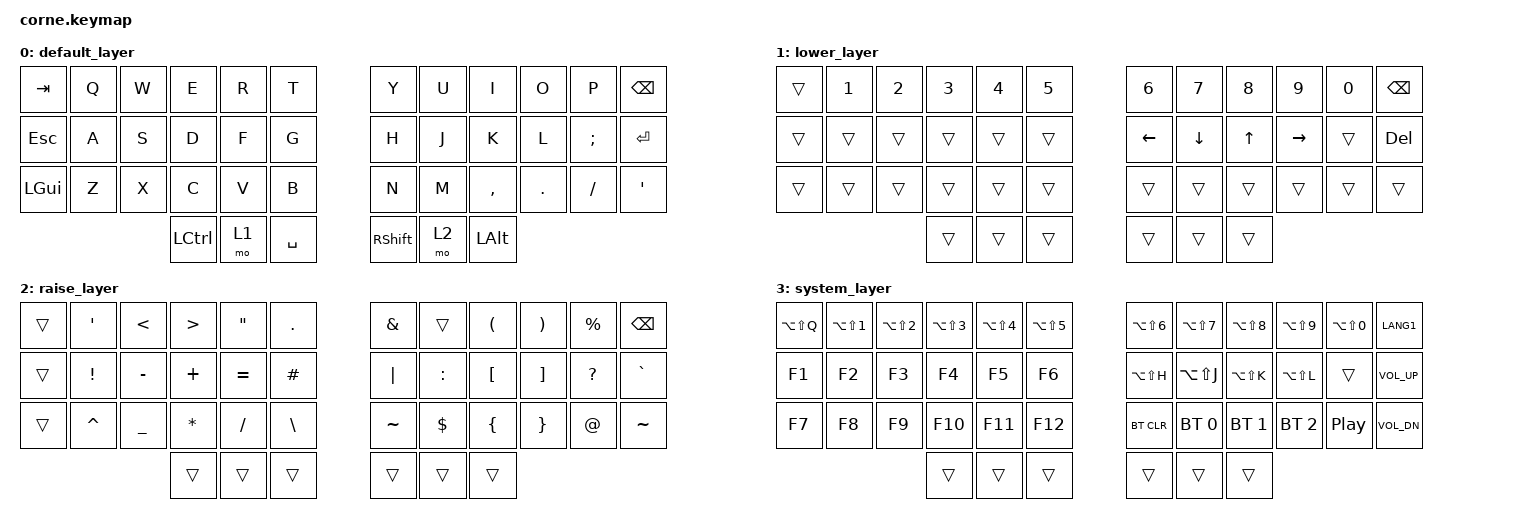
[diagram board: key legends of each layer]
/*
 * Copyright (c) 2020 The ZMK Contributors
 *
 * SPDX-License-Identifier: MIT
 */

#include <behaviors.dtsi>
#include <dt-bindings/zmk/bt.h>
#include <dt-bindings/zmk/keys.h>

/ {
    combos {
        compatible = "zmk,combos";

        to_system {
            bindings = <&mo 3>;
            key-positions = <37 40>;
        };
    };

    keymap {
        compatible = "zmk,keymap";

        default_layer {
            // -----------------------------------------------------------------------------------------
            // |  TAB |  Q  |  W  |  E  |  R  |  T  |   |  Y  |  U   |  I  |  O  |  P  | BKSP |
            // | CTRL |  A  |  S  |  D  |  F  |  G  |   |  H  |  J   |  K  |  L  |  ;  |  '   |
            // | SHFT |  Z  |  X  |  C  |  V  |  B  |   |  N  |  M   |  ,  |  .  |  /  | ESC  |
            //                    | GUI | LWR | SPC |   | ENT | RSE  | ALT |

            bindings = <
&kp TAB     &kp Q  &kp W  &kp E      &kp R  &kp T        &kp Y            &kp U  &kp I         &kp O    &kp P     &kp BSPC
&kp ESCAPE  &kp A  &kp S  &kp D      &kp F  &kp G        &kp H            &kp J  &kp K         &kp L    &kp SEMI  &kp ENTER
&kp LGUI    &kp Z  &kp X  &kp C      &kp V  &kp B        &kp N            &kp M  &kp COMMA     &kp DOT  &kp FSLH  &kp SQT
                          &kp LCTRL  &mo 1  &kp SPACE    &kp RIGHT_SHIFT  &mo 2  &kp LEFT_ALT
            >;
        };

        lower_layer {
            // -----------------------------------------------------------------------------------------
            // |  TAB |  1  |  2  |  3  |  4  |  5  |   |  6  |  7  |  8  |  9  |  0  | BKSP |
            // | BTCLR| BT1 | BT2 | BT3 | BT4 | BT5 |   | LFT | DWN |  UP | RGT |     |      |
            // | SHFT |     |     |     |     |     |   |     |     |     |     |     |      |
            //                    | GUI |     | SPC |   | ENT |     | ALT |

            bindings = <
&trans  &kp N1  &kp N2  &kp N3  &kp N4  &kp N5    &kp N6    &kp N7    &kp N8  &kp N9     &kp N0  &kp BSPC
&trans  &trans  &trans  &trans  &trans  &trans    &kp LEFT  &kp DOWN  &kp UP  &kp RIGHT  &trans  &kp DEL
&trans  &trans  &trans  &trans  &trans  &trans    &trans    &trans    &trans  &trans     &trans  &trans
                        &trans  &trans  &trans    &trans    &trans    &trans
            >;
        };

        raise_layer {
            // -----------------------------------------------------------------------------------------
            // |  TAB |  !  |  @  |  #  |  $  |  %  |   |  ^  |  &  |  *  |  (  |  )  | BKSP |
            // | CTRL |     |     |     |     |     |   |  -  |  =  |  [  |  ]  |  \  |  `   |
            // | SHFT |     |     |     |     |     |   |  _  |  +  |  {  |  }  | "|" |  ~   |
            //                    | GUI |     | SPC |   | ENT |     | ALT |

            bindings = <
&trans  &kp SQT    &kp LESS_THAN   &kp GREATER_THAN  &kp DOUBLE_QUOTES  &kp PERIOD       &kp AMPERSAND  &trans      &kp LEFT_PARENTHESIS  &kp RIGHT_PARENTHESIS  &kp PERCENT   &kp BSPC
&trans  &kp EXCL   &kp MINUS       &kp PLUS          &kp EQUAL          &kp HASH         &kp PIPE       &kp COLON   &kp LBKT              &kp RBKT               &kp QUESTION  &kp GRAVE
&trans  &kp CARET  &kp UNDERSCORE  &kp STAR          &kp SLASH          &kp BACKSLASH    &kp TILDE      &kp DOLLAR  &kp LBRC              &kp RBRC               &kp AT        &kp TILDE
                                   &trans            &trans             &trans           &trans         &trans      &trans
            >;
        };
        system_layer {
            bindings = <
                &kp LA(LS(Q)) &kp LA(LS(N1)) &kp LA(LS(N2)) &kp LA(LS(N3)) &kp LA(LS(N4)) &kp LA(LS(N5)) &kp LA(LS(N6)) &kp LA(LS(N7)) &kp LA(LS(N8)) &kp LA(LS(N9)) &kp LA(LS(N0)) &kp LANG1
                &kp F1 &kp F2 &kp F3 &kp F4 &kp F5 &kp F6 &kp LA(LS(H)) &kp LA(LS(J)) &kp LA(LS(K)) &kp LA(LS(L)) &trans &kp C_VOL_UP
                &kp F7 &kp F8 &kp F9 &kp F10 &kp F11 &kp F12 &bt BT_CLR &bt BT_SEL 0 &bt BT_SEL 1 &bt BT_SEL 2 &kp C_PP &kp C_VOL_DN
                &trans &trans &trans &trans &trans &trans
            >;
        };
    };
};
